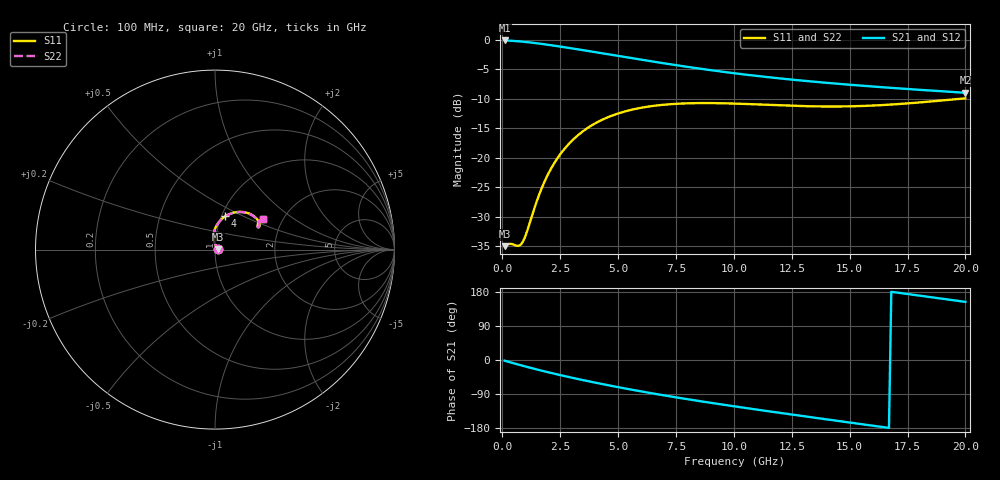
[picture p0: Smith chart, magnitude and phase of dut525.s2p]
! Touchstone file exported from HFSS 2024.1.0
!  File:  C:/UserFiles/LocalFiles/RDL_TSV_Batchsim/temp_RDL_TSV_525_1779743388.aedt
!  Generated:  05:24:57 AM May 26, 2026
!  Design:  RDL_TSV
!  Project:  temp_RDL_TSV_525_1779743388
!  Setup:  Setup1
!  Solution:  Sweep
! Variables:
!  dtsv = 11.68um
!  hbump = 3um
!  htsv = 56.09um
!  ldown = 235.94um
!  lrdl = 610.86um
!  p = 40
!  p1 = 48.03um
!  rhole = 10um
!  subl = 3151.26um
!  t = 450um
!  tdown = 2.57um
!  trdl = 3.03um
!  viad = 10um
!  wdown = 21.32um
!  wrdl = 22.59um
!  xbump = 18um
# GHz S MA R 50.000000
! Terminal data exported
! Port[1] = TM1_1_T1
! Port[2] = TM1_4_T1
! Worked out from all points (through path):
!   200 points, 100 MHz to 20 GHz, reference 50 ohm
!   highest |S21| = -0.16 dB at 100 MHz (marker M1); lowest = -9.0 dB at 20 GHz (marker M2)
!   group delay of S21, straight-line fit = 27.1 ps
!   lowest |S11| = -35.0 dB at 100 MHz (marker M3), VSWR 1.04, Z = 51.8 + j0.227 ohm
!   |S11| at or under -10 dB: start of sweep to 19.91 GHz
!   |S22| runs from -35.0 to -10.0 dB; largest |S21 - S12| = 2.3e-14
!   S11 on the Smith chart (normalised r, x): 100 MHz: 1.04, +0.00; 4 GHz: 1.04, +0.40; 20 GHz: 1.58, +0.61
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0.1  0.01774 7.1  0.9819 -1.8  0.9819 -1.8  0.01774 7.1
! Gamma 0 0 0 0
! Port Impedance 50 0 50 0
0.3  0.01857 17.7  0.9784 -5.4  0.9784 -5.4  0.01857 17.7
0.7  0.01782 43.5  0.9664 -12.2  0.9664 -12.2  0.01784 43.4
0.8  0.01827 53.4  0.9626 -13.9  0.9626 -13.9  0.01828 53.2
0.9  0.01952 63.5  0.9586 -15.5  0.9586 -15.5  0.01952 63.3
1.1  0.02471 80.4  0.9496 -18.8  0.9496 -18.8  0.02468 80.2
1.6  0.0489 96.3  0.9238 -26.7  0.9238 -26.7  0.04875 96.2
1.8  0.06096 97.0  0.9126 -29.7  0.9126 -29.7  0.06077 96.8
2.1  0.08015 95.6  0.8952 -34.1  0.8952 -34.1  0.07988 95.5
2.4  0.09985 92.7  0.8774 -38.4  0.8774 -38.4  0.0995 92.6
2.7  0.1194 89.2  0.8595 -42.6  0.8595 -42.6  0.119 89.1
3.5  0.168 79.0  0.812 -53.3  0.812 -53.3  0.1673 78.9
4  0.1943 72.8  0.7829 -59.6  0.7829 -59.6  0.1935 72.7
5.2  0.2428 59.6  0.7161 -74.0  0.7161 -74.0  0.2417 59.5
6.8  0.278 45.9  0.6369 -91.4  0.6369 -91.4  0.2766 45.8
8.4  0.2892 36.3  0.5712 -107.3  0.5712 -107.3  0.2875 36.2
10.1  0.2862 30.1  0.5156 -123.0  0.5156 -123.0  0.2844 30.0
11.7  0.2783 27.4  0.4746 -137.0  0.4746 -137.0  0.2763 27.4
13.4  0.2716 27.3  0.4401 -151.6  0.4401 -151.6  0.2696 27.4
15  0.2716 28.9  0.4139 -165.0  0.4139 -165.0  0.2697 29.1
16.7  0.2804 31.2  0.3905 -179.2  0.3905 -179.2  0.2788 31.4
20  0.3174 32.9  0.3539 153.4  0.3539 153.4  0.3163 33.1
